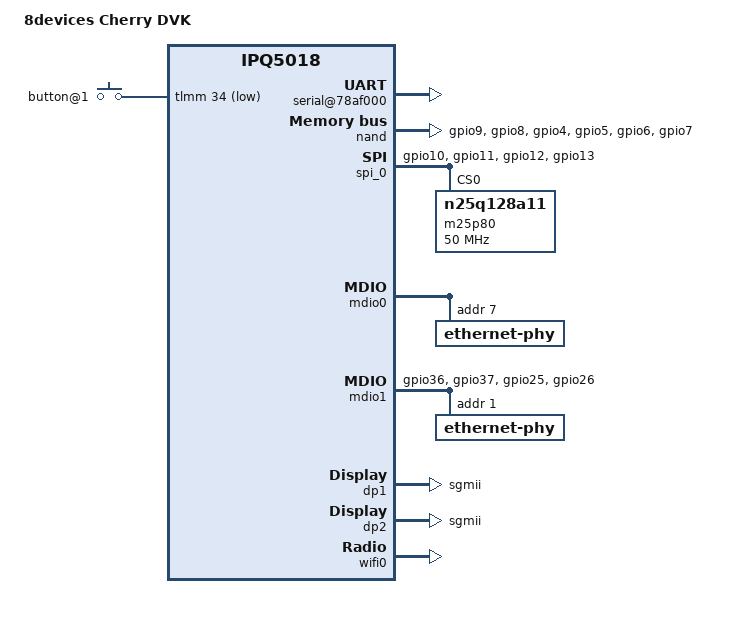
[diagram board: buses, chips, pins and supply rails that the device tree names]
/* Copyright (c) 2018-2021, The Linux Foundation. All rights reserved.
 *
 * Copyright (c) 2021 Qualcomm Innovation Center, Inc. All rights reserved.
 *
 * Permission to use, copy, modify, and/or distribute this software for any
 * purpose with or without fee is hereby granted, provided that the above
 * copyright notice and this permission notice appear in all copies.
 *
 * THE SOFTWARE IS PROVIDED "AS IS" AND THE AUTHOR DISCLAIMS ALL WARRANTIES
 * WITH REGARD TO THIS SOFTWARE INCLUDING ALL IMPLIED WARRANTIES OF
 * MERCHANTABILITY AND FITNESS. IN NO EVENT SHALL THE AUTHOR BE LIABLE FOR
 * ANY SPECIAL, DIRECT, INDIRECT, OR CONSEQUENTIAL DAMAGES OR ANY DAMAGES
 * WHATSOEVER RESULTING FROM LOSS OF USE, DATA OR PROFITS, WHETHER IN AN
 * ACTION OF CONTRACT, NEGLIGENCE OR OTHER TORTIOUS ACTION, ARISING OUT OF
 * OR IN CONNECTION WITH THE USE OR PERFORMANCE OF THIS SOFTWARE.
 */

#include "ipq5018.dtsi"

/ {
	#address-cells = <0x2>;
	#size-cells = <0x2>;
	model = "8devices Cherry DVK";
	compatible = "qcom,ipq5018-8dev-cherry", "qcom,ipq5018";
	interrupt-parent = <&intc>;

	MP_256;
	/delete-property/ MP_512;

	aliases {
		serial0 = &blsp1_uart1;
		serial1 = &blsp1_uart2;
		ethernet0 = "/soc/dp1";
		ethernet1 = "/soc/dp2";
	};

	chosen {
		bootargs = "console=ttyMSM0,115200,n8 rw init=/init";
		bootargs-append = " swiotlb=1 coherent_pool=2M";
		stdout-path = "serial0";
	};

	/*            256 MB Profile
	 * +=========+==============+========================+
	 * |        |              |                         |
	 * | Region | Start Offset |          Size           |
	 * |        |              |                         |
	 * +--------+--------------+-------------------------+
	 * |        |              |                         |
	 * |        |              |                         |
	 * |  NSS   |  0x40000000  |          8MB           |
	 * |        |              |                         |
	 * |        |              |                         |
	 * +--------+--------------+-------------------------+
	 * |        |              |                         |
	 * |        |              |                         |
	 * |        |              |                         |
	 * |        |              |                         |
	 * | Linux  |  0x40800000  | Depends on total memory |
	 * |        |              |                         |
	 * |        |              |                         |
	 * |        |              |                         |
	 * +        |              |                         |
	 * +--------+--------------+-------------------------+
	 * |        |              |                         |
	 * | uboot  |  0x4A600000  |           4MB           |
	 * |        |              |                         |
	 * +--------+--------------+-------------------------+
	 * |  SBL   |  0x4AA00000  |           1MB           |
	 * +--------+--------------+-------------------------+
	 * |  smem  |  0x4AB00000  |           1MB           |
	 * +--------+--------------+-------------------------+
	 * |        |              |                         |
	 * |   TZ   |  0x4AC00000  |           4MB           |
	 * |        |              |                         |
	 * +--------+--------------+-------------------------+
	 * |        |              |                         |
	 * |        |              |                         |
	 * |        |              |                         |
	 * |   Q6   |  0x4B000000  |          20MB           |
	 * |  code/ |              |                         |
	 * |  data  |              |                         |
	 * +--------+--------------+-------------------------+
	 * |        |              |                         |
	 * |IPQ5018 |  0x4C400000  |          13MB           |
	 * |  data  |              |                         |
	 * +--------+--------------+-------------------------+
	 * | M3 Dump|  0x4D100000  |           1MB           |
	 * +--------+--------------+-------------------------+
	 * |  QDSS  |  0x4D200000  |           1MB           |
	 * +--------+--------------+-------------------------+
	 * |                                                 |
	 * |      Rest of the memory for Linux               |
	 * |                                                 |
	 * +=================================================+
	 */
	reserved-memory {
		q6_region: memory@4b000000 {
			no-map;
			reg = <0x0 0x4b000000 0x0 0x01800000>;
		};

		m3_dump@4c800000 {
			no-map;
			reg = <0x0 0x4c800000 0x0 0x100000>;
		};

		q6_etr_region:q6_etr_dump@4c900000 {
			no-map;
			reg = <0x0 0x4c900000 0x0 0x100000>;
		};

		q6_caldb_region:q6_caldb_region@4ca00000 {
			no-map;
			reg = <0x0 0x4ca00000 0x0 0x200000>;
		};
	};

	soc {
		serial@78af000 {
			status = "ok";
		};

		qpic_bam: dma@7984000{
			status = "ok";
		};

		nand: qpic-nand@79b0000 {
			pinctrl-0 = <&qspi_nand_pins>;
			pinctrl-names = "default";
			qcom,io_macro_max_clk = <200000000>;
			qcom,io_macro_clk_rates = <24000000 100000000 200000000 \
						   320000000>;
			status = "ok";
		};

		spi_0: spi@78b5000 { /* BLSP1 QUP0 */
			pinctrl-0 = <&blsp0_spi_pins>;
			pinctrl-names = "default";
			cs-select = <0>;
			status = "ok";

			m25p80@0 {
				#address-cells = <1>;
				#size-cells = <1>;
				reg = <0>;
				compatible = "n25q128a11";
				linux,modalias = "m25p80", "n25q128a11";
				spi-max-frequency = <50000000>;
				use-default-sizes;

				partition0 {
					label = "0:SBL1";
					reg = <0x00000000 0x00030000>;
				};
				partition1 {
					label = "0:MIBIB";
					reg = <0x00030000 0x00010000>;
				};
				partition2 {
					label = "0:QSEE";
					reg = <0x00040000 0x000a0000>;
				};
				partition3 {
					label = "0:DEVCFG";
					reg = <0x000e0000 0x00010000>;
				};
				partition4 {
					label = "0:CDT";
					reg = <0x000f0000 0x00010000>;
				};
				partition5 {
					label = "0:APPSBLENV";
					reg = <0x00100000 0x00010000>;
				};
				partition6 {
					label = "0:APPSBL";
					reg = <0x00110000 0x000a0000>;
				};
				partition7 {
					label = "0:ART";
					reg = <0x001b0000 0x00030000>;
				};
				partition8 {
					label = "config";
					reg = <0x001e0000 0x00040000>;
				};
				partition9 {
					label = "data";
					reg = <0x00220000 0x00100000>;
				};
				partition10 {
					label = "firmware";
					reg = <0x00320000 0x1CE0000>;
				};
			};
		};

		mdio0: mdio@88000 {
			status = "ok";

			ethernet-phy@0 {
				reg = <7>;
			};
		};

		mdio1: mdio@90000 {
			status = "ok";
			pinctrl-0 = <&mdio1_pins &phy_pins>;
			pinctrl-names = "default";
			phy-reset-gpio = <&tlmm 26 0>;

			ethernet-phy@0 {
				reg = <1>;
			};
		};

		ess-instance {
			num_devices = <0x1>;
			ess-switch@0x39c00000 {
				switch_mac_mode = <0xf>; /* mac mode for uniphy instance*/
				cmnblk_clk = "internal_96MHz"; /* cmnblk clk*/
				mdio-bus = <&mdio1>;
				qcom,port_phyinfo {
					port@0 {
						port_id = <1>;
						phy_address = <7>;
						mdiobus = <&mdio0>;
					};
					port@1 {
						port_id = <2>;
						phy_address = <0x1>;
						mdiobus = <&mdio1>;
					};
				};
				led_source@0 {
					source = <0>;
					mode = "normal";
					speed = "all";
					blink_en = "enable";
					active = "low";
				};
			};
		};

		dp1 {
			device_type = "network";
			compatible = "qcom,nss-dp";
			clocks = <&gcc GCC_SNOC_GMAC0_AXI_CLK>;
			clock-names = "nss-snoc-gmac-axi-clk";
			qcom,id = <1>;
			reg = <0x39C00000 0x10000>;
			interrupts = <GIC_SPI 101 IRQ_TYPE_LEVEL_HIGH>;
			qcom,mactype = <2>;
			qcom,link-poll = <1>;
			qcom,phy-mdio-addr = <7>;
			mdio-bus = <&mdio0>;
			local-mac-address = [000000000000];
			phy-mode = "sgmii";
			qcom,rx-page-mode = <0>;
		};

		dp2 {
			device_type = "network";
			compatible = "qcom,nss-dp";
			clocks = <&gcc GCC_SNOC_GMAC1_AXI_CLK>;
			clock-names = "nss-snoc-gmac-axi-clk";
			qcom,id = <2>;
			reg = <0x39D00000 0x10000>;
			interrupts = <GIC_SPI 109 IRQ_TYPE_LEVEL_HIGH>;
			qcom,mactype = <2>;
			qcom,link-poll = <1>;
			qcom,phy-mdio-addr = <0x1>;
			mdio-bus = <&mdio1>;
			local-mac-address = [000000000000];
			phy-mode = "sgmii";
			qcom,rx-page-mode = <0>;
		};
	};

	qcom,test@0 {
		status = "ok";
	};

	thermal-zones {
		status = "ok";
	};
};

&tlmm {
	pinctrl-0 = <&blsp0_uart_pins>;
	pinctrl-names = "default";

	blsp0_uart_pins: blsp0_uart_pins {
		blsp0_uart_rx {
			pins = "gpio28";
			function = "blsp0_uart1";
			drive-strength = <8>;
			input-enable;
			bias-disable;
			bias-pull-up;
		};
		blsp0_uart_tx {
			pins = "gpio29";
			function = "blsp0_uart1";
			drive-strength = <8>;
			bias-disable;
			output-high;
			bias-pull-up;
		};
	};

	blsp0_spi_pins: blsp0_spi_pins {
		mux {
			pins = "gpio10", "gpio11", "gpio12", "gpio13";
			function = "blsp0_spi";
			drive-strength = <2>;
			bias-disable;
		};
	};

	qspi_nand_pins: qspi_nand_pins {
		qspi_clock {
			pins = "gpio9";
			function = "qspi_clk";
			drive-strength = <8>;
			bias-disable;
		};

		qspi_cs {
			pins = "gpio8";
			function = "qspi_cs";
			drive-strength = <8>;
			bias-disable;
		};

		qspi_data {
			pins = "gpio4", "gpio5", "gpio6", "gpio7";
			function = "qspi_data";
			drive-strength = <8>;
			bias-disable;
		};
	};

	phy_pins: phy_pins {
		phy_intr {
			pins = "gpio25";
			function = "gpio";
			drive-strength = <8>;
			bias-disable;
		};
		phy_reset {
			pins = "gpio26";
			function = "gpio";
			drive-strength = <8>;
			bias-pull-down;
			output-low;
		};
	};

	mdio1_pins: mdio_pinmux {
		mux_0 {
			pins = "gpio36";
			function = "mdc";
			drive-strength = <8>;
			bias-pull-up;
		};

		mux_1 {
			pins = "gpio37";
			function = "mdio";
			drive-strength = <8>;
			bias-pull-up;
		};
	};

	button_pins: button_pins {
		wps_button {
			pins = "gpio34";
			function = "gpio";
			drive-strength = <8>;
			bias-pull-up;
		};
	};
};

&soc {
	gpio_keys {
		compatible = "gpio-keys";
		/* pinctrl-0 = <&button_pins>;
		pinctrl-names = "default"; */

		button@1 {
			/* label = "wps";
			linux,code = <KEY_WPS_BUTTON>; */
			gpios = <&tlmm 34 GPIO_ACTIVE_LOW>;
			linux,input-type = <1>;
			debounce-interval = <60>;
		};
	};
};

&q6v5_wcss {
	memory-region = <&q6_region>, <&q6_etr_region>;
};

&wifi0 {
	compatible = "qcom,ipq5018-wifi";
	qcom,tgt-mem-mode = <2>;
	mem-region = <&q6_region>;
	qcom,board_id = <0x10>;

	qcom,bdf-addr = <0x4BA00000 0x4BA00000 0x4BA00000
		0x0 0x0>;
	qcom,caldb-addr = <0x4CA00000 0x4CA00000 0x0 0x0 0x0>;
	qcom,caldb-size = <0x200000>;

	status = "ok";
};

